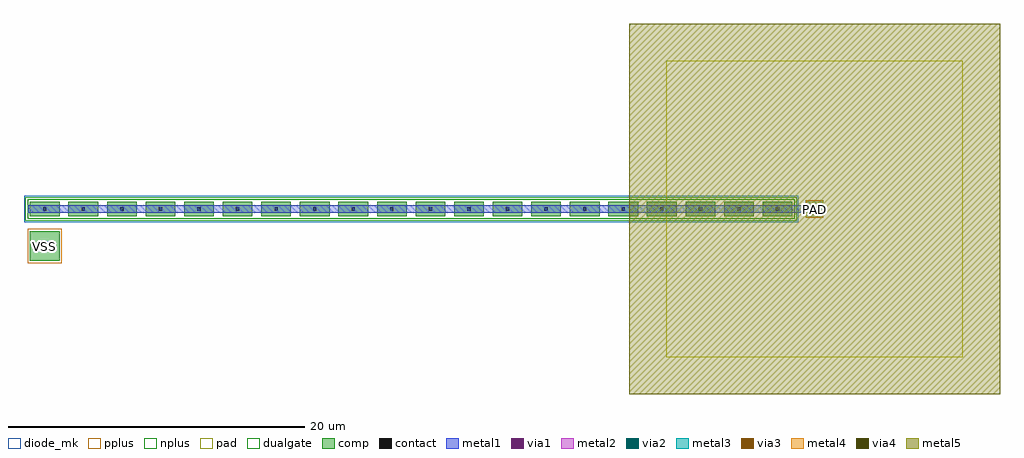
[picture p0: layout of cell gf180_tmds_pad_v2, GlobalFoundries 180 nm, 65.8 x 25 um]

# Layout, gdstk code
import gdstk
lib = gdstk.Library(unit=1e-6, precision=1e-09)
def R(c, l, rs):  # rectangles x0, y0, x1, y1
    for r in rs: c.add(gdstk.rectangle(r[:2], r[2:], *l))
def A(c, l, x, y, w, h, nx, ny, dx, dy):  # array of equal rectangles
    R(c, l, [(x+i*dx, y+j*dy, x+i*dx+w, y+j*dy+h) for i in range(nx) for j in range(ny)])
comp = (22, 0)
pplus = (31, 0)
nplus = (32, 0)
contact = (33, 0)
metal1 = (34, 0)
via1 = (35, 0)
metal2 = (36, 0)
pad = (37, 0)
via2 = (38, 0)
via3 = (40, 0)
via4 = (41, 0)
metal3 = (42, 0)
metal4 = (46, 0)
dualgate = (55, 0)
metal5 = (81, 0)
diode_mk = (115, 5)

gf180_tmds_pad_v2 = lib.new_cell('gf180_tmds_pad_v2')
A(gf180_tmds_pad_v2, comp, 0, 0, 2, 1, 20, 1, 2.6, 0)
R(gf180_tmds_pad_v2, comp, [(0,-3,2,-1)])
R(gf180_tmds_pad_v2, pplus, [(-0.16,-3.16,2.16,-0.84)])
R(gf180_tmds_pad_v2, nplus, [(-0.16,-0.16,51.56,1.16)])
A(gf180_tmds_pad_v2, contact, 0.89, 0.39, 0.22, 0.22, 20, 1, 2.6, 0)
R(gf180_tmds_pad_v2, contact, [(0.89,-2.11,1.11,-1.89)])
R(gf180_tmds_pad_v2, metal1, [(0.69,-2.31,1.31,-1.69), (-0.1,0.26,53.5,0.74)])
R(gf180_tmds_pad_v2, via1, [(52.75,0.35,53.05,0.65)])
R(gf180_tmds_pad_v2, metal2, [(52.3,-0.1,53.5,1.1)])
R(gf180_tmds_pad_v2, pad, [(42.9,-9.5,62.9,10.5)])
R(gf180_tmds_pad_v2, via2, [(52.75,0.35,53.05,0.65)])
R(gf180_tmds_pad_v2, via3, [(52.75,0.35,53.05,0.65)])
R(gf180_tmds_pad_v2, via4, [(52.75,0.35,53.05,0.65)])
R(gf180_tmds_pad_v2, metal3, [(52.3,-0.1,53.5,1.1)])
R(gf180_tmds_pad_v2, metal4, [(52.3,-0.1,53.5,1.1)])
R(gf180_tmds_pad_v2, dualgate, [(-0.3,-0.3,51.7,1.3)])
R(gf180_tmds_pad_v2, metal5, [(40.4,-12,65.4,13)])
R(gf180_tmds_pad_v2, diode_mk, [(-0.4,-0.4,51.8,1.4)])
gf180_tmds_pad_v2.add(gdstk.Label('PAD', (52.9,0.5), layer=81, texttype=10))
gf180_tmds_pad_v2.add(gdstk.Label('VSS', (1,-2), layer=34, texttype=10))

lib.write_gds('gf180_tmds_pad_v2.gds')
